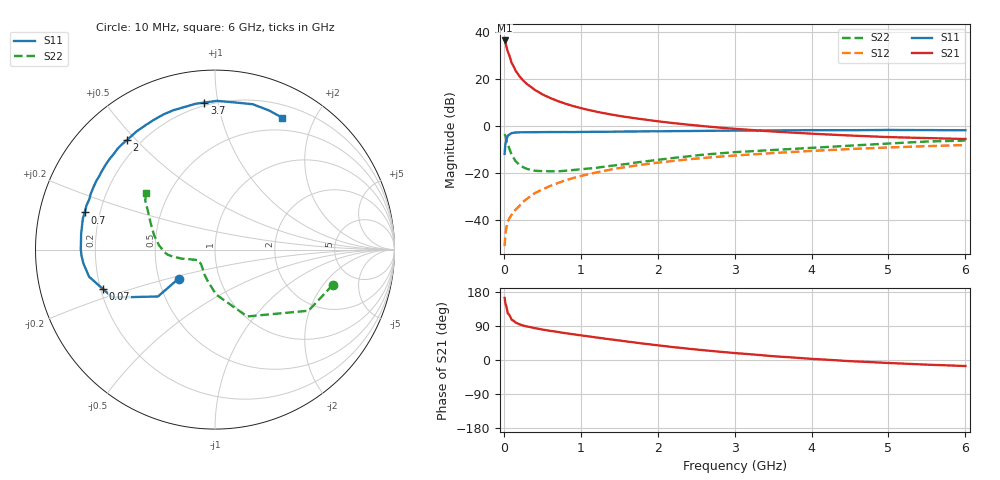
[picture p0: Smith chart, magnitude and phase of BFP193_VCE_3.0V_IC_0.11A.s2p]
! Infineon Technologies  Discrete & RF Semiconductors
! BFP193
! VCE =  3.0 V,  IC = 0.11 A
! Common Emitter S-Parameters:  Jan 2017
# GHz  S  MA  R  50
!  f  S11  S21  S12  S22
! GHz  MAG  ANG  MAG  ANG  MAG  ANG  MAG  ANG
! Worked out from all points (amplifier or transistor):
!   77 points, 10 MHz to 6 GHz, reference 50 ohm
!   highest |S21| = 36.6 dB at 10 MHz (marker M1)
!   |S21| within 3 dB of that: start of sweep to 37.14 MHz
!   unconditionally stable (mu >= 1): start of sweep to 13.77 MHz; 177.1 MHz to 3.394 GHz; 5.573 GHz to end of sweep
!   at 130 MHz: K = 0.89, MSG = 30.8 dB, |S12| = -36.4 dB
!   at 2.2 GHz: K = 1.06, MAG = 6.6 dB, |S12| = -14.8 dB
!   at 6 GHz: K = 1.01, MAG = 0.6 dB, |S12| = -8.0 dB
!   S11 on the Smith chart (normalised r, x): 10 MHz: 0.63, -0.22; 70 MHz: 0.21, -0.16; 700 MHz: 0.14, +0.14; 2 GHz: 0.15, +0.47; 3.7 GHz: 0.18, +0.91; 6 GHz: 0.34, +1.58
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0.01  0.2602 -141.4  67.45 163.9  0.0028 72.4  0.6849 -16.7
0.02  0.4115 -140.6  61.41 149.8  0.0051 65.6  0.6222 -33.2
0.05  0.6297 -154.9  39.74 123.5  0.0093 54.8  0.4133 -64.3
0.07  0.6607 -160.5  32.67 118.8  0.0108 57.2  0.3419 -71.2
0.1  0.7174 -167.8  22.78 106.6  0.013 59.7  0.2506 -88.5
0.15  0.7371 -173.9  15.61 99.2  0.0166 62.2  0.1838 -101.9
0.2  0.7447 -177.4  11.84 94.5  0.02 67.1  0.1534 -111.9
0.25  0.7479 179.7  9.519 91.0  0.0246 68.0  0.1349 -118.3
0.3  0.7477 177.3  7.946 88.5  0.0285 69.8  0.1242 -124.6
0.4  0.7511 173.3  6.003 84.0  0.0374 71.0  0.1133 -132.7
0.5  0.7525 169.9  4.809 80.4  0.045 72.1  0.111 -138.4
0.7  0.7551 164.1  3.458 74.1  0.0617 71.9  0.1099 -146.1
0.9  0.7546 158.3  2.703 67.9  0.0791 70.3  0.1173 -149.8
1.1  0.7616 152.7  2.235 62.4  0.0955 68.4  0.126 -153.3
1.5  0.7717 141.9  1.668 51.5  0.1292 63.4  0.1512 -159.2
2  0.7829 128.7  1.281 38.7  0.1681 56.8  0.1931 -164.9
2.1  0.7858 126.2  1.225 36.5  0.1755 55.4  0.2023 -166.4
3.1  0.8106 104.7  0.862 16.8  0.2444 41.9  0.2873 -178.7
3.7  0.8215 94.1  0.743 7.4  0.281 34.5  0.3261 171.9
4.1  0.8275 87.8  0.684 1.9  0.3048 29.5  0.355 165.0
5.1  0.8349 74.1  0.584 -8.7  0.359 17.4  0.4388 149.1
6  0.8249 63.1  0.537 -15.9  0.3999 6.8  0.498 140.6
